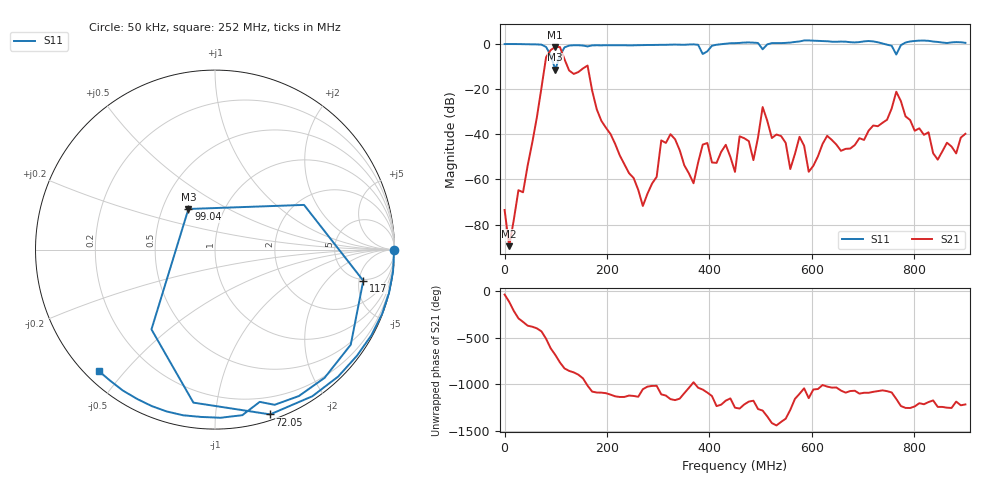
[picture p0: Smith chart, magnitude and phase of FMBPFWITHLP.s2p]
# HZ S RI R 50
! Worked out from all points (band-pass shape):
!   101 points, 50 kHz to 900 MHz, reference 50 ohm
!   highest |S21| = -1.29 dB at 99.04 MHz (marker M1); lowest = -89.6 dB at 9.05 MHz (marker M2)
!   |S21| within 3 dB of the highest: 85.45 MHz to 112.9 MHz (27.49 MHz wide, 27.7 % of centre)
!   lowest |S11| = -11.4 dB at 99.04 MHz (marker M3), VSWR 1.74, Z = 33.8 + j16.5 ohm
!   |S11| at or under -10 dB: 97.15 MHz to 101 MHz (3.855 MHz wide, 3.89 % of centre)
!   S12 and S22 are empty: the file has one direction only
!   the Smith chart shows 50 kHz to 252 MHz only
!   S11 on the Smith chart (normalised r, x): 50 kHz: open; 72.05 MHz: 0.05, -1.39; 99.04 MHz: 0.68, +0.33; 117 MHz: 4.77, -5.75; 252 MHz: 0.04, -0.43
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50000  0.9977 0.000107  0.00016 -0.000137  0 0  0 0
9049500  0.992 -0.122  -1.6e-05 -2.91e-05  0 0  0 0
7.2046e7  0.3071 -0.9182  0.0291 -0.1032  0 0  0 0
8.10455e7  -0.1204 -0.8526  -0.4568 -0.2277  0 0  0 0
9.90445e7  -0.1481 0.2263  0.7134 0.4838  0 0  0 0
1.170435e8  0.8261 -0.1733  -0.1622 -0.4298  0 0  0 0
1.530415e8  0.3319 -0.8647  -0.2315 0.1703  0 0  0 0
2.52036e8  -0.6484 -0.6759  0.000764 -0.000759  0 0  0 0
2.70035e8  -0.7633 -0.5597  0.000231 0.000117  0 0  0 0
3.06033e8  -0.9175 -0.2818  0.00648 -0.00342  0 0  0 0
3.690295e8  -0.9053 0.3819  -0.000164 0.000807  0 0  0 0
3.870285e8  -0.1616 0.5789  0.00544 0.00231  0 0  0 0
3.96028e8  -0.6374 -0.2651  0.00633 -0.00102  0 0  0 0
4.50025e8  -0.8434 0.618  -0.00145 -0.000244  0 0  0 0
4.590245e8  -0.7995 0.6917  -0.00901 -5.22e-05  0 0  0 0
4.86023e8  -0.6352 0.8663  -0.000268 -0.00266  0 0  0 0
5.04022e8  -0.2652 0.7167  -0.0374 0.0147  0 0  0 0
5.58019e8  -0.3085 1.033  -0.00165 0.000404  0 0  0 0
6.030165e8  -0.124 1.18  0.00183 0.000819  0 0  0 0
7.56008e8  0.609 0.6847  0.037 -0.00473  0 0  0 0
8.46003e8  0.7959 0.7766  -0.00261 -0.000857  0 0  0 0
9e8  0.8849 0.5875  -0.00734 -0.00717  0 0  0 0
